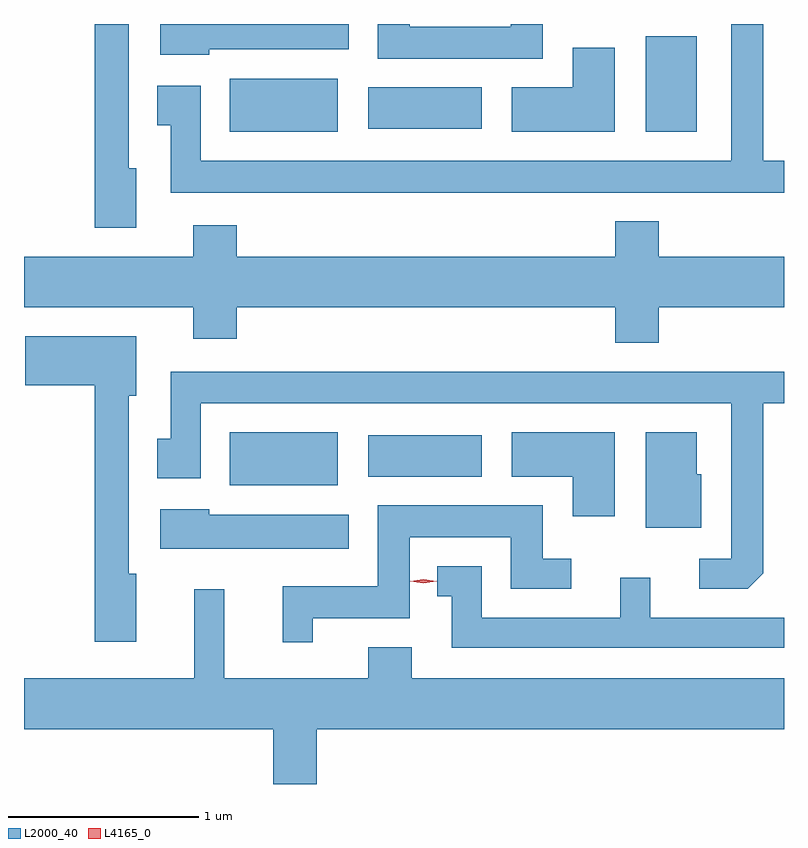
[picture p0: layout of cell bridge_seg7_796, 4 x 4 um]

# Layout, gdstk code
import gdstk
lib = gdstk.Library(unit=1e-6, precision=1e-09)
def R(c, l, rs):  # rectangles x0, y0, x1, y1
    for r in rs: c.add(gdstk.rectangle(r[:2], r[2:], *l))
def P(c, l, *ps):  # polygons
    for p in ps: c.add(gdstk.Polygon(p, *l))
L2000_40 = (2000, 40)
L4165_0 = (4165, 0)

bridge_seg7_796 = lib.new_cell('bridge_seg7_796')
R(bridge_seg7_796, L2000_40, [(404.331,1751.121,404.899,1751.399), (405.061,1751.166,405.659,1751.384), (404.331,1752.981,404.899,1753.259), (406.521,1752.981,406.789,1753.484), (405.061,1752.996,405.659,1753.214)])
P(bridge_seg7_796, L2000_40, [(405.979,1753.548),(405.811,1753.548),(405.811,1753.534),(405.279,1753.534),(405.279,1753.548),(405.111,1753.548),(405.111,1753.366),(405.979,1753.366)],
  [(404.224,1753.416),(404.959,1753.416),(404.959,1753.548),(403.966,1753.548),(403.966,1753.386),(404.224,1753.386)],
  [(403.839,1752.789),(403.799,1752.789),(403.799,1753.548),(403.621,1753.548),(403.621,1752.476),(403.839,1752.476)],
  [(407.249,1752.829),(407.139,1752.829),(407.139,1753.548),(406.971,1753.548),(406.971,1752.829),(404.179,1752.829),(404.179,1753.224),(403.951,1753.224),(403.951,1753.016),(404.021,1753.016),(404.021,1752.661),(407.249,1752.661)],
  [(406.359,1753.424),(406.136,1753.424),(406.136,1753.214),(405.816,1753.214),(405.816,1752.981),(406.359,1752.981)],
  [(406.589,1752.056),(407.249,1752.056),(407.249,1752.324),(406.589,1752.324),(406.589,1752.509),(406.361,1752.509),(406.361,1752.324),(404.369,1752.324),(404.369,1752.489),(404.141,1752.489),(404.141,1752.324),(403.249,1752.324),(403.249,1752.056),(404.141,1752.056),(404.141,1751.891),(404.369,1751.891),(404.369,1752.056),(406.361,1752.056),(406.361,1751.871),(406.589,1751.871)],
  [(403.839,1750.654),(403.799,1750.654),(403.799,1751.591),(403.839,1751.591),(403.839,1751.904),(403.256,1751.904),(403.256,1751.646),(403.621,1751.646),(403.621,1750.296),(403.839,1750.296)],
  [(407.139,1750.657),(407.139,1751.551),(407.249,1751.551),(407.249,1751.719),(404.021,1751.719),(404.021,1751.364),(403.951,1751.364),(403.951,1751.156),(404.179,1751.156),(404.179,1751.551),(406.971,1751.551),(406.971,1750.734),(406.803,1750.734),(406.803,1750.576),(407.059,1750.576)],
  [(406.359,1751.399),(405.816,1751.399),(405.816,1751.166),(406.136,1751.166),(406.136,1750.956),(406.359,1750.956)],
  [(406.814,1751.179),(406.789,1751.179),(406.789,1751.399),(406.521,1751.399),(406.521,1750.896),(406.814,1750.896)],
  [(404.769,1750.421),(405.279,1750.421),(405.279,1750.846),(405.811,1750.846),(405.811,1750.576),(406.128,1750.576),(406.128,1750.734),(405.979,1750.734),(405.979,1751.014),(405.111,1751.014),(405.111,1750.589),(404.611,1750.589),(404.611,1750.293),(404.769,1750.293)],
  [(404.959,1750.964),(404.224,1750.964),(404.224,1750.994),(403.966,1750.994),(403.966,1750.786),(404.959,1750.786)],
  [(407.249,1750.424),(406.544,1750.424),(406.544,1750.633),(406.386,1750.633),(406.386,1750.424),(405.659,1750.424),(405.659,1750.694),(405.423,1750.694),(405.423,1750.536),(405.501,1750.536),(405.501,1750.266),(407.249,1750.266)],
  [(404.789,1749.836),(407.249,1749.836),(407.249,1750.104),(405.289,1750.104),(405.289,1750.269),(405.061,1750.269),(405.061,1750.104),(404.304,1750.104),(404.304,1750.573),(404.146,1750.573),(404.146,1750.104),(403.249,1750.104),(403.249,1749.836),(404.561,1749.836),(404.561,1749.548),(404.789,1749.548)])
P(bridge_seg7_796, L4165_0, [(405.351,1750.605),(405.282,1750.614),(405.282,1750.615),(405.282,1750.615),(405.351,1750.625),(405.421,1750.615),(405.421,1750.615),(405.421,1750.614)])

lib.write_gds('bridge_seg7_796.gds')
